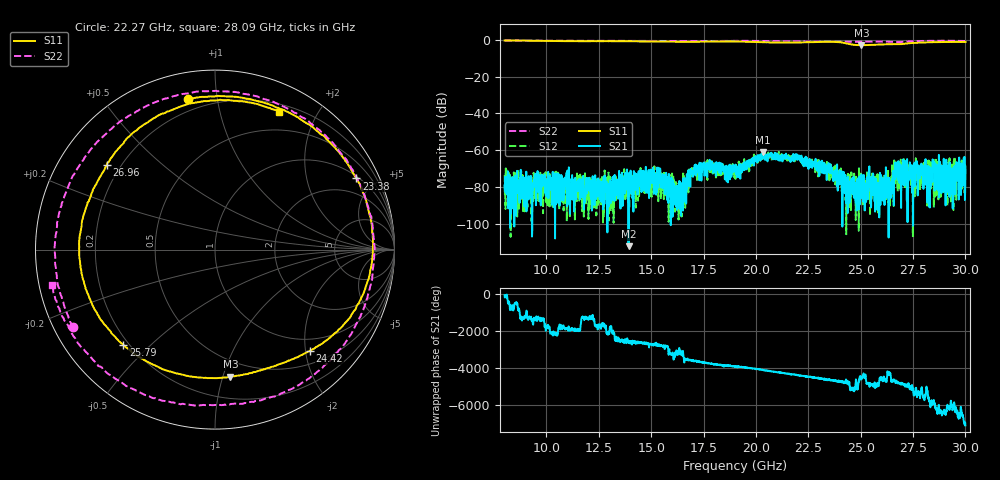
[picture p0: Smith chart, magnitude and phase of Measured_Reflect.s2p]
!Agilent Technologies,N5247A,US51370446,A.10.00.00
!Agilent N5247A: A.10.00.00
!Date: Tuesday, October 16, 2018 05:16:33
!Correction: S11(Full 2 Port(1,2))
!S21(Full 2 Port(1,2))
!S12(Full 2 Port(1,2))
!S22(Full 2 Port(1,2))
!S2P File: Measurements: S11, S21, S12, S22:
# Hz S  RI  R 50
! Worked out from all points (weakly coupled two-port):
!   2001 points, 8 GHz to 30 GHz, reference 50 ohm
!   highest |S21| = -61.06 dB at 20.34 GHz (marker M1); lowest = -112.3 dB at 13.92 GHz (marker M2)
!   lowest |S11| = -2.9 dB at 25.04 GHz (marker M3), VSWR 5.95, Z = 18.4 - j52.9 ohm
!   |S11| at or under -10 dB: nowhere
!   |S22| runs from -1.3 to -0.4 dB; largest |S21 - S12| = 0.00093
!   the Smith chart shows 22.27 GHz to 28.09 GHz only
!   S11 on the Smith chart (normalised r, x): 22.27 GHz: 0.14, +0.83; 23.38 GHz: 1.10, +3.92; 24.42 GHz: 0.75, -2.09; 25.79 GHz: 0.18, -0.41; 26.96 GHz: 0.15, +0.34; 28.09 GHz: 0.28, +1.53
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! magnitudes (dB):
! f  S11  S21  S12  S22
! 8 GHz  -0.4  -79.2  -73.5  -0.4
! 8.319 GHz  -0.4  -75.3  -75.2  -0.4
! 11.67 GHz  -0.8  -83.6  -76.1  -0.6
! 13.92 GHz  -0.8  -112.3  -77.8  -0.6
! 15.34 GHz  -1.0  -80.4  -87.8  -0.7
! 16.21 GHz  -1.1  -80.6  -78.1  -0.7
! 17.42 GHz  -1.0  -67.1  -69.0  -0.7
! 19 GHz  -0.9  -68.6  -70.7  -0.6
! 20.34 GHz  -1.3  -61.1  -63.3  -0.6
! 22.27 GHz  -1.4  -66.0  -66.3  -0.9
! 22.67 GHz  -1.3  -67.4  -65.2  -1.0
! 23.38 GHz  -1.1  -76.3  -68.1  -1.0
! 24.42 GHz  -2.2  -79.1  -74.7  -1.1
! 25.04 GHz  -2.9  -73.3  -81.9  -1.1
! 25.79 GHz  -2.7  -83.7  -84.1  -1.0
! 26.34 GHz  -2.4  -107.6  -91.0  -1.0
! 26.73 GHz  -2.5  -67.2  -70.1  -1.3
! 26.96 GHz  -2.3  -76.7  -75.3  -1.2
! 28.09 GHz  -1.4  -68.6  -71.2  -0.6
! 28.77 GHz  -1.3  -68.8  -74.7  -0.5
! 29.38 GHz  -1.2  -71.6  -80.1  -0.6
! 30 GHz  -1.2  -69.2  -68.5  -0.7
